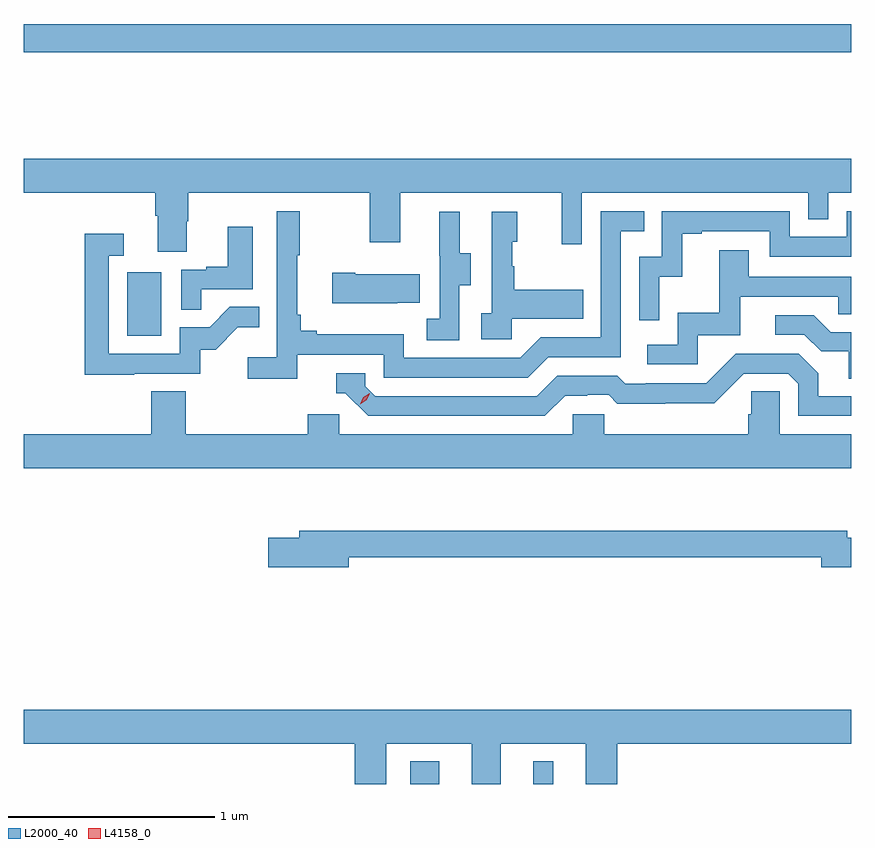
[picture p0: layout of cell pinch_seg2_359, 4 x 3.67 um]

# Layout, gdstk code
import gdstk
lib = gdstk.Library(unit=1e-6, precision=1e-09)
def R(c, l, rs):  # rectangles x0, y0, x1, y1
    for r in rs: c.add(gdstk.rectangle(r[:2], r[2:], *l))
def P(c, l, *ps):  # polygons
    for p in ps: c.add(gdstk.Polygon(p, *l))
L2000_40 = (2000, 40)
L4158_0 = (4158, 0)

pinch_seg2_359 = lib.new_cell('pinch_seg2_359')
R(pinch_seg2_359, L2000_40, [(985.203,643.446,985.342,643.555), (985.796,643.446,985.894,643.555), (983.834,645.612,983.998,645.919), (983.334,646.984,987.334,647.12)])
P(pinch_seg2_359, L2000_40, [(984.121,646.167),(984.129,646.167),(984.129,646.304),(985.006,646.304),(985.006,646.065),(985.153,646.065),(985.153,646.304),(985.934,646.304),(985.934,646.056),(986.031,646.056),(986.031,646.304),(987.126,646.304),(987.126,646.177),(987.222,646.177),(987.222,646.304),(987.334,646.304),(987.334,646.468),(983.334,646.468),(983.334,646.304),(983.969,646.304),(983.969,646.192),(983.981,646.192),(983.981,646.018),(984.121,646.018)],
  [(984.656,645.522),(985.074,645.522),(985.074,645.411),(985.771,645.411),(985.87,645.51),(986.22,645.51),(986.22,646.119),(986.333,646.119),(986.333,646.215),(986.124,646.215),(986.124,645.606),(985.833,645.606),(985.734,645.507),(985.17,645.507),(985.17,645.619),(984.751,645.619),(984.751,645.638),(984.674,645.638),(984.674,645.715),(984.655,645.715),(984.655,646.003),(984.667,646.003),(984.667,646.216),(984.558,646.216),(984.558,645.508),(984.417,645.508),(984.417,645.406),(984.656,645.406)],
  [(986.406,645.899),(986.516,645.899),(986.516,646.107),(986.611,646.107),(986.611,646.119),(986.94,646.119),(986.94,645.996),(987.334,645.996),(987.334,646.215),(987.312,646.215),(987.312,646.092),(987.036,646.092),(987.036,646.215),(986.418,646.215),(986.418,645.996),(986.31,645.996),(986.31,645.687),(986.406,645.687)],
  [(985.44,645.856),(985.495,645.856),(985.495,646.011),(985.441,646.011),(985.441,646.213),(985.343,646.213),(985.343,645.999),(985.344,645.999),(985.344,645.695),(985.281,645.695),(985.281,645.592),(985.44,645.592)],
  [(985.692,645.695),(986.039,645.695),(986.039,645.835),(985.705,645.835),(985.705,645.95),(985.695,645.95),(985.695,646.068),(985.72,646.068),(985.72,646.213),(985.596,646.213),(985.596,645.722),(985.545,645.722),(985.545,645.597),(985.692,645.597)],
  [(984.191,645.837),(984.442,645.837),(984.442,646.141),(984.32,646.141),(984.32,645.946),(984.217,645.946),(984.217,645.933),(984.096,645.933),(984.096,645.739),(984.191,645.739)],
  [(983.867,645.429),(984.186,645.429),(984.186,645.546),(984.262,645.546),(984.369,645.653),(984.473,645.653),(984.473,645.752),(984.33,645.752),(984.232,645.654),(984.087,645.654),(984.087,645.525),(983.745,645.525),(983.745,645.999),(983.818,645.999),(983.818,646.105),(983.629,646.105),(983.629,645.424),(983.867,645.424)],
  [(986.592,645.615),(986.797,645.615),(986.797,645.801),(987.271,645.801),(987.271,645.717),(987.334,645.717),(987.334,645.897),(986.839,645.897),(986.839,646.027),(986.695,646.027),(986.695,645.724),(986.496,645.724),(986.496,645.57),(986.349,645.57),(986.349,645.474),(986.592,645.474)],
  [(985.139,645.773),(985.247,645.773),(985.247,645.91),(984.937,645.91),(984.937,645.918),(984.825,645.918),(984.825,645.77),(985.139,645.77)],
  [(987.334,645.63),(987.235,645.63),(987.154,645.711),(986.967,645.711),(986.967,645.618),(987.108,645.618),(987.188,645.538),(987.323,645.538),(987.323,645.406),(987.334,645.406)],
  [(985.951,645.324),(986.058,645.324),(986.058,645.327),(986.161,645.327),(986.203,645.285),(986.436,645.285),(986.436,645.287),(986.672,645.287),(986.814,645.429),(987.03,645.429),(987.078,645.381),(987.078,645.225),(987.334,645.225),(987.334,645.321),(987.175,645.321),(987.175,645.431),(987.081,645.525),(986.775,645.525),(986.634,645.384),(986.341,645.384),(986.341,645.381),(986.242,645.381),(986.203,645.42),(985.914,645.42),(985.815,645.321),(985.032,645.321),(984.984,645.369),(984.984,645.432),(984.845,645.432),(984.845,645.336),(984.888,645.336),(984.999,645.225),(985.852,645.225)],
  [(987.334,645.136),(986.988,645.136),(986.988,645.344),(986.851,645.344),(986.851,645.234),(986.837,645.234),(986.837,645.136),(986.139,645.136),(986.139,645.234),(985.989,645.234),(985.989,645.136),(984.858,645.136),(984.858,645.234),(984.707,645.234),(984.707,645.136),(984.116,645.136),(984.116,645.344),(983.951,645.344),(983.951,645.136),(983.334,645.136),(983.334,644.972),(987.334,644.972)],
  [(984.904,644.542),(987.188,644.542),(987.188,644.495),(987.334,644.495),(987.334,644.637),(987.316,644.637),(987.316,644.671),(984.665,644.671),(984.665,644.637),(984.516,644.637),(984.516,644.495),(984.904,644.495)],
  [(985.087,643.64),(985.499,643.64),(985.499,643.446),(985.639,643.446),(985.639,643.64),(986.051,643.64),(986.051,643.446),(986.204,643.446),(986.204,643.64),(987.334,643.64),(987.334,643.804),(983.334,643.804),(983.334,643.64),(984.935,643.64),(984.935,643.446),(985.087,643.446)])
P(pinch_seg2_359, L4158_0, [(984.961,645.282),(984.961,645.283),(984.976,645.316),(985.007,645.336),(985.007,645.336),(985.007,645.336),(984.992,645.303),(984.961,645.282)])

lib.write_gds('pinch_seg2_359.gds')
